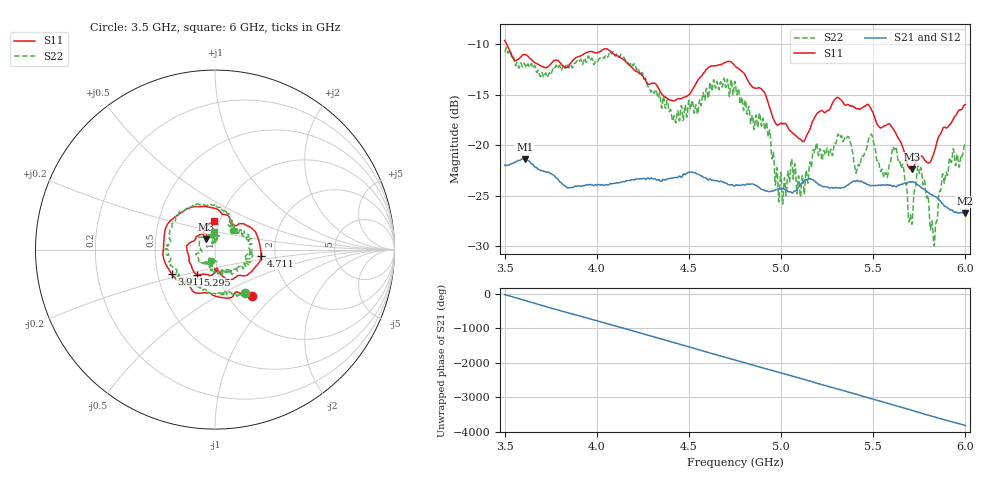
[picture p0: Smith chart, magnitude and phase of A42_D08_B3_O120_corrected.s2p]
! Created with skrf 1.9.0 (http://scikit-rf.org).
# Hz S RI R 50.0
!freq ReS11 ImS11 ReS21 ImS21 ReS12 ImS12 ReS22 ImS22
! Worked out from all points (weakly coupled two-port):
!   1601 points, 3.5 GHz to 6 GHz, reference 50 ohm
!   highest |S21| = -21.34 dB at 3.609 GHz (marker M1); lowest = -26.7 dB at 5.997 GHz (marker M2)
!   lowest |S11| = -22.4 dB at 5.709 GHz (marker M3), VSWR 1.16, Z = 45 + j5.27 ohm
!   |S11| at or under -10 dB: 3.512 GHz to end of sweep
!   |S22| runs from -30.0 to -10.3 dB; largest |S21 - S12| = 0.00098
!   S11 on the Smith chart (normalised r, x): 3.5 GHz: 1.27, -0.74; 3.911 GHz: 0.59, -0.17; 4.711 GHz: 1.69, -0.13; 5.295 GHz: 0.79, -0.23; 6 GHz: 0.94, +0.31
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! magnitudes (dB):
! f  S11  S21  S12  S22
! 3.5 GHz  -9.6  -22.0  -22.0  -10.7
! 3.609 GHz  -11.0  -21.3  -21.3  -11.9
! 3.911 GHz  -11.2  -24.0  -24.0  -11.5
! 3.917 GHz  -11.1  -24.1  -24.1  -11.7
! 4.334 GHz  -14.3  -23.4  -23.3  -15.3
! 4.42 GHz  -15.6  -23.2  -23.2  -17.1
! 4.711 GHz  -11.7  -23.9  -23.8  -13.6
! 4.75 GHz  -12.1  -24.0  -23.9  -13.7
! 4.93 GHz  -15.8  -24.5  -24.5  -19.1
! 4.998 GHz  -17.8  -24.3  -24.3  -22.7
! 5.167 GHz  -17.8  -23.4  -23.4  -21.8
! 5.295 GHz  -15.4  -24.2  -24.1  -19.8
! 5.412 GHz  -16.4  -23.5  -23.5  -22.4
! 5.487 GHz  -16.4  -24.0  -24.0  -18.9
! 5.584 GHz  -17.9  -23.9  -23.9  -22.2
! 5.619 GHz  -18.7  -24.0  -24.1  -20.3
! 5.709 GHz  -22.4  -23.6  -23.6  -27.8
! 5.752 GHz  -21.1  -24.0  -24.0  -22.8
! 5.834 GHz  -20.5  -25.1  -25.0  -29.0
! 5.87 GHz  -18.7  -25.6  -25.6  -23.8
! 5.997 GHz  -16.0  -26.7  -26.7  -20.0
! 6 GHz  -16.0  -26.7  -26.7  -20.1
